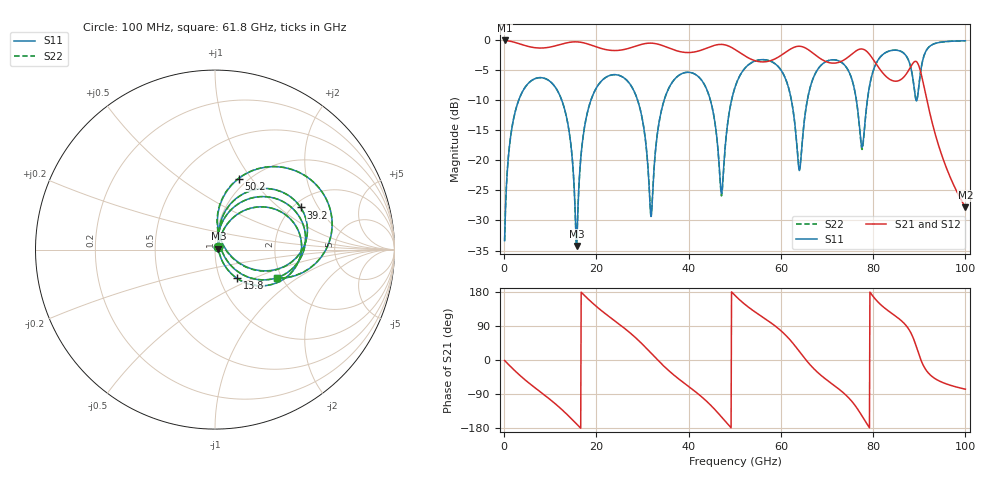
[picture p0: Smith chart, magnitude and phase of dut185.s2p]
! Touchstone file exported from HFSS 2026.1.0
!  File:  C:/ffzhzh/LocalFiles/Ansys_Project_Files/temp_test_TSV_RDL_185_1783477462_46308.aedt
!  Generated:  10:34:41 AM Jul  8, 2026
!  Design:  TSV_RDL
!  Project:  temp_test_TSV_RDL_185_1783477462_46308
! Variables:
!  h_bsmrdl = 2.97um
!  h_ox = 20um
!  h_rdl = 5um
!  h_sub = 99.09um
!  h_tmrdl = 4.53um
!  h_tsv = 99.09um
!  h_via = 3um
!  l_bsmrdl = 361.28um
!  l_sub = 3158.3um
!  l_tmrdl = 395.86um
!  m_sub = 200um
!  pitch = 47.96um
!  r_tsv = 13.23um
!  s_tmrdl = 10um
!  w_bsmrdl = 16.13um
!  w_sub = 500um
!  w_tmrdl = 14.21um
!  x_tsv_center1 = 402.965um
!  x_tsv_center2 = 780.375um
!  x_tsv_center3 = 1190.445um
!  x_tsv_center4 = 1567.855um
!  x_tsv_center5 = 1977.925um
!  x_tsv_center6 = 2355.335um
# GHz S MA R 50.000000
! Terminal data exported
! Port[1] = TM_RDL1_1_T1
! Port[2] = TM_RDL5_1_T1
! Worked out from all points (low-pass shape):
!   1000 points, 100 MHz to 100 GHz, reference 50 ohm
!   highest |S21| = -0.16 dB at 100 MHz (marker M1); lowest = -27.8 dB at 100 GHz (marker M2)
!   |S21| within 3 dB of the highest: start of sweep to 53.23 GHz; 58.87 GHz to 68.55 GHz (9.68 GHz wide, 15.2 % of centre) (the widest 2 of 3)
!   lowest |S11| = -34.2 dB at 15.7 GHz (marker M3), VSWR 1.04, Z = 51.9 + j0.454 ohm
!   |S11| at or under -10 dB: 12.46 GHz to 18.84 GHz (6.379 GHz wide, 40.8 % of centre); 28.91 GHz to 34.71 GHz (5.803 GHz wide, 18.2 % of centre); 44.7 GHz to 49.32 GHz (4.619 GHz wide, 9.83 % of centre) (the widest 3 of 7)
!   |S22| runs from -34.3 to -0.2 dB; largest |S21 - S12| = 2.8e-14
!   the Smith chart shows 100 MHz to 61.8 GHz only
!   S11 on the Smith chart (normalised r, x): 100 MHz: 1.04, +0.02; 13.8 GHz: 1.21, -0.40; 39.2 GHz: 2.18, +1.43; 50.2 GHz: 0.91, +0.87; 61.8 GHz: 1.88, -0.70
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0.1  0.02148 33.3  0.9822 -1.3  0.9822 -1.3  0.02148 33.3
! Gamma 0 0 0 0
! Port Impedance 50 0 50 0
4.4  0.3944 35.6  0.8941 -51.0  0.8941 -51.0  0.3944 35.6
13.8  0.2011 -52.6  0.9424 -145.6  0.9424 -145.6  0.2011 -52.6
15.7  0.01942 13.0  0.9563 -168.8  0.9563 -168.8  0.01936 13.1
16.8  0.1237 77.1  0.946 177.6  0.946 177.6  0.1237 77.1
26.3  0.4705 -8.0  0.8313 81.6  0.8313 81.6  0.4704 -7.9
31.8  0.03417 7.2  0.9333 18.7  0.9333 18.7  0.03512 7.6
33.4  0.1853 77.4  0.9142 -1.5  0.9142 -1.5  0.1855 77.1
39.2  0.5318 26.2  0.7818 -62.6  0.7818 -62.6  0.5318 26.0
44.3  0.3539 -18.4  0.86 -113.5  0.86 -113.5  0.3537 -18.8
47.1  0.05289 23.9  0.9111 -150.0  0.9111 -150.0  0.05055 23.7
50.1  0.407 72.5  0.8241 169.8  0.8241 169.8  0.4067 72.8
50.2  0.4175 71.5  0.8194 168.6  0.8194 168.6  0.4173 71.8
56.7  0.6783 17.8  0.6545 107.8  0.6545 107.8  0.6782 18.0
61.8  0.3802 -24.9  0.8205 55.6  0.8205 55.6  0.3804 -24.6
64  0.082 19.6  0.8793 22.6  0.8793 22.6  0.08429 19.9
66.7  0.4438 63.6  0.7842 -17.5  0.7842 -17.5  0.4445 63.3
75.7  0.425 -12.0  0.7743 -113.9  0.7743 -113.9  0.4244 -12.6
77.6  0.1279 29.1  0.8346 -148.0  0.8346 -148.0  0.1226 28.9
83.4  0.801 35.7  0.4731 128.6  0.4731 128.6  0.8007 35.9
89.8  0.3768 49.3  0.62 19.1  0.62 19.1  0.3793 49.2
100  0.9763 7.7  0.04067 -77.0  0.04067 -77.0  0.9763 7.7
